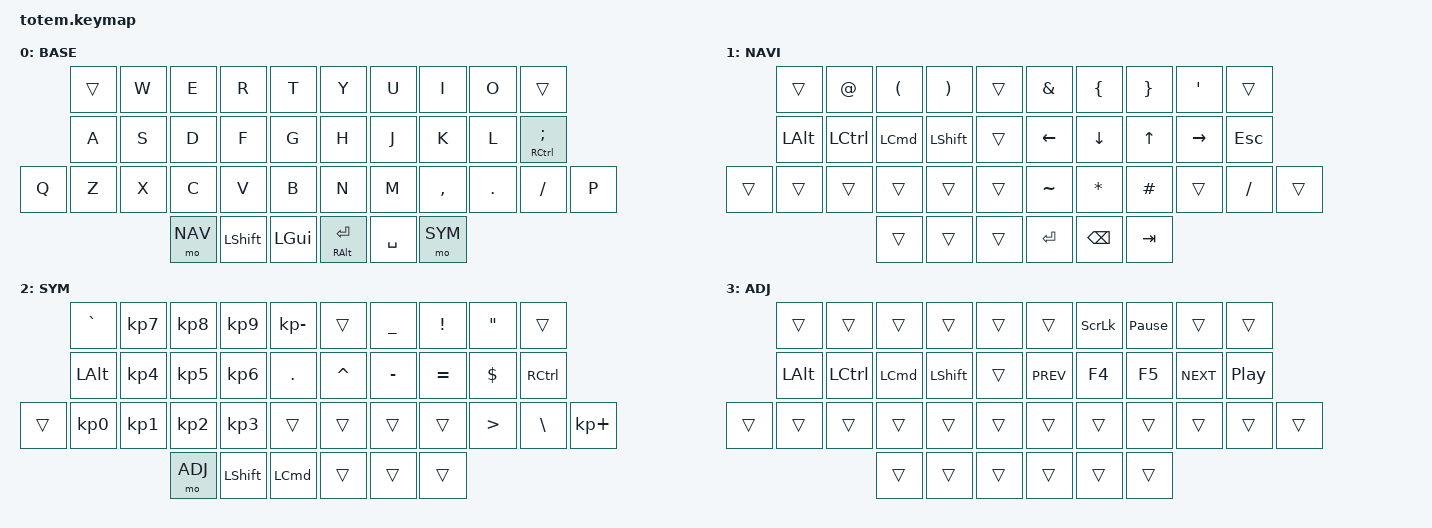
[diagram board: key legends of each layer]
//
//                                                        ▀▀▀▀▀     ▀▀▀▀▀          ▀▀█▀▀
//                                                        ▄▀▀▀▄  ▄  ▄▀▀▀▄  ▄  ▄▀▀▀▄  █  ▄▀▀▀▄
//                                                        █   █  █  █   █  █  █   █  █  █   █
//                                                         ▀▀▀   █   ▀▀▀   █   ▀▀▀   ▀   ▀▀▀
//                                                               █      ▄▄▄█▄▄▄    █   █  
//                                                               ▀      █  █  █     █▄█
//                                                             ▀▀▀▀▀    █  █  █      ▀
//                                                                      ▀  ▀  ▀
//
// ▄▄▄▄▄▄▄▄▄▄▄▄▄▄▄▄▄▄▄▄▄▄▄▄▄▄▄▄▄▄▄▄▄▄▄▄▄▄▄▄▄▄▄▄▄▄▄▄▄▄▄▄▄▄▄▄▄▄▄▄▄▄▄▄▄▄▄▄▄▄▄▄▄▄▄▄▄▄▄▄▄▄▄▄▄▄▄▄▄▄▄▄▄▄▄▄▄▄▄▄▄▄▄▄▄▄▄▄▄▄▄▄▄▄▄▄▄▄▄▄▄▄▄▄▄▄▄▄▄▄▄▄▄▄▄▄▄▄▄▄▄▄▄▄▄▄▄▄▄
       

#include <behaviors.dtsi>
#include <dt-bindings/zmk/keys.h>
#include <dt-bindings/zmk/bt.h>
#include <dt-bindings/zmk/outputs.h>

#define BASE 0
#define NAV  1
#define SYM  2
#define ADJ  3

&mt {
  quick-tap-ms = <100>;
  global-quick-tap;
  flavor = "tap-preferred";
  tapping-term-ms = <170>;
};

/ {
        keymap {
                compatible = "zmk,keymap";
// ▄▄▄▄▄▄▄▄▄▄▄▄▄▄▄▄▄▄▄▄▄▄▄▄▄▄▄▄▄▄▄▄▄▄▄▄▄▄▄▄▄▄▄▄▄▄▄▄▄▄▄▄▄▄▄▄▄▄▄▄▄▄▄▄▄▄▄▄▄▄▄▄▄▄▄▄▄▄▄▄▄▄▄▄▄▄▄▄▄▄▄▄▄▄▄▄▄▄▄▄▄▄▄▄▄▄▄▄▄▄▄▄▄▄▄▄▄▄▄▄▄▄▄▄▄▄▄▄▄▄▄▄▄▄▄▄▄▄▄▄▄▄▄▄▄▄▄▄▄

                base_layer {
// ┏━━━━━━━━━━━━━━━━━━━━━━━━━━━━━━━━━━━━━━━┓
label= "BASE"                              ;
// ┗━━━━━━━━━━━━━━━━━━━━━━━━━━━━━━━━━━━━━━━┛
//             ┏━━━━━━━━━━━┳━━━━━━━━━━━┳━━━━━━━━━━━┳━━━━━━━━━━━┳━━━━━━━━━━━┓   ┏━━━━━━━━━━━┳━━━━━━━━━━━┳━━━━━━━━━━━┳━━━━━━━━━━━┳━━━━━━━━━━━┓
//             ┃           ┃     W     ┃     E     ┃     R     ┃     T     ┃   ┃     Y     ┃     U     ┃     I     ┃     O     ┃           ┃
//             ┣━━━━━━━━━━━╋━━━━━━━━━━━╋━━━━━━━━━━━╋━━━━━━━━━━━╋━━━━━━━━━━━┫   ┣━━━━━━━━━━━╋━━━━━━━━━━━╋━━━━━━━━━━━╋━━━━━━━━━━━╋━━━━━━━━━━━┫
//             ┃     A     ┃     S     ┃     D     ┃     F     ┃     G     ┃   ┃     H     ┃     J     ┃     K     ┃     L     ┃   CTRL ;  ┃
// ┏━━━━━━━━━━━╋━━━━━━━━━━━╋━━━━━━━━━━━╋━━━━━━━━━━━╋━━━━━━━━━━━╋━━━━━━━━━━━┫   ┣━━━━━━━━━━━╋━━━━━━━━━━━╋━━━━━━━━━━━╋━━━━━━━━━━━╋━━━━━━━━━━━╋━━━━━━━━━━━┓
// ┃     Q     ┃     Z     ┃     X     ┃     C     ┃     V     ┃     B     ┃   ┃     N     ┃     M     ┃     ,     ┃     .     ┃     /     ┃     P     ┃
// ┗━━━━━━━━━━━┻━━━━━━━━━━━┻━━━━━━━━━━━╋━━━━━━━━━━━╋━━━━━━━━━━━╋━━━━━━━━━━━┫   ┣━━━━━━━━━━━╋━━━━━━━━━━━╋━━━━━━━━━━━╋━━━━━━━━━━━┻━━━━━━━━━━━┻━━━━━━━━━━━┛
//                                     ┃    NAV    ┃   SHIFT   ┃    CMD    ┃   ┃  ALT RET  ┃    SPC    ┃    SYM    ┃
//                                     ┗━━━━━━━━━━━┻━━━━━━━━━━━┻━━━━━━━━━━━┛   ┗━━━━━━━━━━━┻━━━━━━━━━━━┻━━━━━━━━━━━┛
 bindings = <
// ╷           ╷           ╷           ╷           ╷           ╷           ╷   ╷           ╷           ╷           ╷           ╷           ╷           ╷

                &trans      &kp W       &kp E       &kp R       &kp T           &kp Y       &kp U       &kp I       &kp O       &trans
                &kp A       &kp S       &kp D       &kp F       &kp G           &kp H       &kp J       &kp K       &kp L       &mt RCTRL SEMI
    &kp Q       &kp Z       &kp X       &kp C       &kp V       &kp B           &kp N       &kp M       &kp COMMA   &kp DOT     &kp FSLH    &kp P
                                        &mo NAV     &kp LSHFT   &kp LGUI       &mt RALT RET &kp SPACE   &mo SYM
                        >;
                };

// ▄▄▄▄▄▄▄▄▄▄▄▄▄▄▄▄▄▄▄▄▄▄▄▄▄▄▄▄▄▄▄▄▄▄▄▄▄▄▄▄▄▄▄▄▄▄▄▄▄▄▄▄▄▄▄▄▄▄▄▄▄▄▄▄▄▄▄▄▄▄▄▄▄▄▄▄▄▄▄▄▄▄▄▄▄▄▄▄▄▄▄▄▄▄▄▄▄▄▄▄▄▄▄▄▄▄▄▄▄▄▄▄▄▄▄▄▄▄▄▄▄▄▄▄▄▄▄▄▄▄▄▄▄▄▄▄▄▄▄▄▄▄▄▄▄▄▄▄▄


                nav_layer {
// ┏━━━━━━━━━━━━━━━━━━━━━━━━━━━━━━━━━━━━━━━┓
label= "NAVI"                              ;
// ┗━━━━━━━━━━━━━━━━━━━━━━━━━━━━━━━━━━━━━━━┛
//             ┏━━━━━━━━━━━┳━━━━━━━━━━━┳━━━━━━━━━━━┳━━━━━━━━━━━┳━━━━━━━━━━━┓   ┏━━━━━━━━━━━┳━━━━━━━━━━━┳━━━━━━━━━━━┳━━━━━━━━━━━┳━━━━━━━━━━━┓
//             ┃           ┃     @     ┃     (     ┃     )     ┃           ┃   ┃     &     ┃     [     ┃     ]     ┃     '     ┃           ┃
//             ┣━━━━━━━━━━━╋━━━━━━━━━━━╋━━━━━━━━━━━╋━━━━━━━━━━━╋━━━━━━━━━━━┫   ┣━━━━━━━━━━━╋━━━━━━━━━━━╋━━━━━━━━━━━╋━━━━━━━━━━━╋━━━━━━━━━━━┫
//             ┃    ALT    ┃    CTRL   ┃    CMD    ┃   SHIFT   ┃           ┃   ┃    LEFT   ┃    DOWN   ┃     UP    ┃   RIGHT   ┃    ESC    ┃
// ┏━━━━━━━━━━━╋━━━━━━━━━━━╋━━━━━━━━━━━╋━━━━━━━━━━━╋━━━━━━━━━━━╋━━━━━━━━━━━┫   ┣━━━━━━━━━━━╋━━━━━━━━━━━╋━━━━━━━━━━━╋━━━━━━━━━━━╋━━━━━━━━━━━╋━━━━━━━━━━━┓
// ┃           ┃           ┃           ┃           ┃           ┃           ┃   ┃     ~     ┃     *     ┃     #     ┃           ┃     /     ┃     %     ┃
// ┗━━━━━━━━━━━┻━━━━━━━━━━━┻━━━━━━━━━━━╋━━━━━━━━━━━╋━━━━━━━━━━━╋━━━━━━━━━━━┫   ┣━━━━━━━━━━━╋━━━━━━━━━━━╋━━━━━━━━━━━╋━━━━━━━━━━━┻━━━━━━━━━━━┻━━━━━━━━━━━┛
//                                     ┃           ┃           ┃           ┃   ┃    RET    ┃ BACKSPACE ┃    TAB    ┃
//                                     ┗━━━━━━━━━━━┻━━━━━━━━━━━┻━━━━━━━━━━━┛   ┗━━━━━━━━━━━┻━━━━━━━━━━━┻━━━━━━━━━━━┛
 bindings = <
// ╷           ╷           ╷           ╷           ╷           ╷           ╷   ╷           ╷           ╷           ╷           ╷           ╷           ╷

                &trans      &kp AT      &kp LPAR    &kp RPAR    &trans          &kp AMPS    &kp LBRC    &kp RBRC    &kp SQT     &trans
                &kp LALT    &kp LCTRL   &kp LCMD    &kp LSHFT   &trans          &kp LEFT    &kp DOWN    &kp UP      &kp RIGHT   &kp ESC
    &trans      &trans      &trans      &trans      &trans      &trans          &kp TILDE   &kp STAR    &kp HASH    &trans      &kp SLASH   &trans
                                        &trans      &trans      &trans          &kp RET     &kp BSPC    &kp TAB
                        >;
                };

// ▄▄▄▄▄▄▄▄▄▄▄▄▄▄▄▄▄▄▄▄▄▄▄▄▄▄▄▄▄▄▄▄▄▄▄▄▄▄▄▄▄▄▄▄▄▄▄▄▄▄▄▄▄▄▄▄▄▄▄▄▄▄▄▄▄▄▄▄▄▄▄▄▄▄▄▄▄▄▄▄▄▄▄▄▄▄▄▄▄▄▄▄▄▄▄▄▄▄▄▄▄▄▄▄▄▄▄▄▄▄▄▄▄▄▄▄▄▄▄▄▄▄▄▄▄▄▄▄▄▄▄▄▄▄▄▄▄▄▄▄▄▄▄▄▄▄▄▄▄


                sim_layer {
// ┏━━━━━━━━━━━━━━━━━━━━━━━━━━━━━━━━━━━━━━━┓
label= "SYM"                               ;
// ┗━━━━━━━━━━━━━━━━━━━━━━━━━━━━━━━━━━━━━━━┛
//             ┏━━━━━━━━━━━┳━━━━━━━━━━━┳━━━━━━━━━━━┳━━━━━━━━━━━┳━━━━━━━━━━━┓   ┏━━━━━━━━━━━┳━━━━━━━━━━━┳━━━━━━━━━━━┳━━━━━━━━━━━┳━━━━━━━━━━━┓
//             ┃     `     ┃     7     ┃     8     ┃     9     ┃     -     ┃   ┃           ┃     _     ┃     !     ┃     "     ┃           ┃
//             ┣━━━━━━━━━━━╋━━━━━━━━━━━╋━━━━━━━━━━━╋━━━━━━━━━━━╋━━━━━━━━━━━┫   ┣━━━━━━━━━━━╋━━━━━━━━━━━╋━━━━━━━━━━━╋━━━━━━━━━━━╋━━━━━━━━━━━┫
//             ┃    ALT    ┃     4     ┃     5     ┃     6     ┃     .     ┃   ┃     ^     ┃     -     ┃     =     ┃     $     ┃    CTRL   ┃
// ┏━━━━━━━━━━━╋━━━━━━━━━━━╋━━━━━━━━━━━╋━━━━━━━━━━━╋━━━━━━━━━━━╋━━━━━━━━━━━┫   ┣━━━━━━━━━━━╋━━━━━━━━━━━╋━━━━━━━━━━━╋━━━━━━━━━━━╋━━━━━━━━━━━╋━━━━━━━━━━━┓
// ┃           ┃     0     ┃     1     ┃     2     ┃     3     ┃           ┃   ┃           ┃           ┃           ┃     >     ┃     \     ┃     +     ┃
// ┗━━━━━━━━━━━┻━━━━━━━━━━━┻━━━━━━━━━━━╋━━━━━━━━━━━╋━━━━━━━━━━━╋━━━━━━━━━━━┫   ┣━━━━━━━━━━━╋━━━━━━━━━━━╋━━━━━━━━━━━╋━━━━━━━━━━━┻━━━━━━━━━━━┻━━━━━━━━━━━┛
//                                     ┃    ADJ    ┃   SHIFT   ┃    CMD    ┃   ┃           ┃           ┃           ┃
//                                     ┗━━━━━━━━━━━┻━━━━━━━━━━━┻━━━━━━━━━━━┛   ┗━━━━━━━━━━━┻━━━━━━━━━━━┻━━━━━━━━━━━┛
 bindings = <
// ╷           ╷           ╷           ╷           ╷           ╷           ╷   ╷           ╷           ╷           ╷           ╷           ╷           ╷

                &kp GRAVE   &kp KP_N7   &kp KP_N8   &kp KP_N9   &kp KP_MINUS    &trans      &kp UNDER   &kp EXCL    &kp DQT     &trans
                &kp LALT    &kp KP_N4   &kp KP_N5   &kp KP_N6   &kp DOT         &kp CARET   &kp MINUS   &kp EQUAL   &kp DOLLAR  &kp RCTRL
    &trans      &kp KP_N0   &kp KP_N1   &kp KP_N2   &kp KP_N3   &trans          &trans      &trans      &trans      &kp GT      &kp BSLH    &kp KP_PLUS
                                        &mo ADJ     &kp LSHFT   &kp LCMD        &trans      &trans      &trans
                        >;
                };

// ▄▄▄▄▄▄▄▄▄▄▄▄▄▄▄▄▄▄▄▄▄▄▄▄▄▄▄▄▄▄▄▄▄▄▄▄▄▄▄▄▄▄▄▄▄▄▄▄▄▄▄▄▄▄▄▄▄▄▄▄▄▄▄▄▄▄▄▄▄▄▄▄▄▄▄▄▄▄▄▄▄▄▄▄▄▄▄▄▄▄▄▄▄▄▄▄▄▄▄▄▄▄▄▄▄▄▄▄▄▄▄▄▄▄▄▄▄▄▄▄▄▄▄▄▄▄▄▄▄▄▄▄▄▄▄▄▄▄▄▄▄▄▄▄▄▄▄▄▄


                adjust_layer {
// ┏━━━━━━━━━━━━━━━━━━━━━━━━━━━━━━━━━━━━━━━┓
label= "ADJ"                               ;
// ┗━━━━━━━━━━━━━━━━━━━━━━━━━━━━━━━━━━━━━━━┛
//             ┏━━━━━━━━━━━┳━━━━━━━━━━━┳━━━━━━━━━━━┳━━━━━━━━━━━┳━━━━━━━━━━━┓   ┏━━━━━━━━━━━┳━━━━━━━━━━━┳━━━━━━━━━━━┳━━━━━━━━━━━┳━━━━━━━━━━━┓
//             ┃           ┃           ┃           ┃           ┃           ┃   ┃           ┃  BRIGHT - ┃  BRIGHT + ┃           ┃           ┃
//             ┣━━━━━━━━━━━╋━━━━━━━━━━━╋━━━━━━━━━━━╋━━━━━━━━━━━╋━━━━━━━━━━━┫   ┣━━━━━━━━━━━╋━━━━━━━━━━━╋━━━━━━━━━━━╋━━━━━━━━━━━╋━━━━━━━━━━━┫
//             ┃    ALT    ┃    CTRL   ┃    CMD    ┃   SHIFT   ┃           ┃   ┃  PREVIOUS ┃  VOLUME - ┃  VOLUME + ┃    NEXT   ┃ PLAYPAUSE ┃
// ┏━━━━━━━━━━━╋━━━━━━━━━━━╋━━━━━━━━━━━╋━━━━━━━━━━━╋━━━━━━━━━━━╋━━━━━━━━━━━┫   ┣━━━━━━━━━━━╋━━━━━━━━━━━╋━━━━━━━━━━━╋━━━━━━━━━━━╋━━━━━━━━━━━╋━━━━━━━━━━━┓
// ┃           ┃           ┃           ┃           ┃           ┃           ┃   ┃           ┃           ┃           ┃           ┃           ┃           ┃
// ┗━━━━━━━━━━━┻━━━━━━━━━━━┻━━━━━━━━━━━╋━━━━━━━━━━━╋━━━━━━━━━━━╋━━━━━━━━━━━┫   ┣━━━━━━━━━━━╋━━━━━━━━━━━╋━━━━━━━━━━━╋━━━━━━━━━━━┻━━━━━━━━━━━┻━━━━━━━━━━━┛
//                                     ┃           ┃           ┃           ┃   ┃           ┃           ┃           ┃
//                                     ┗━━━━━━━━━━━┻━━━━━━━━━━━┻━━━━━━━━━━━┛   ┗━━━━━━━━━━━┻━━━━━━━━━━━┻━━━━━━━━━━━┛
 bindings = <
// ╷           ╷           ╷           ╷           ╷           ╷           ╷   ╷           ╷           ╷           ╷           ╷           ╷           ╷

                &trans      &trans      &trans      &trans      &trans          &trans      &kp SLCK    &kp PAUSE_BREAK &trans  &trans
                &kp LALT    &kp LCTRL   &kp LCMD    &kp LSHFT   &trans          &kp C_PREV  &kp F4      &kp F5      &kp C_NEXT  &kp C_PLAY_PAUSE
    &trans      &trans      &trans      &trans      &trans      &trans          &trans      &trans      &trans      &trans      &trans      &trans
                                        &trans      &trans      &trans          &trans      &trans      &trans      
                        >;
                };
        };
};
